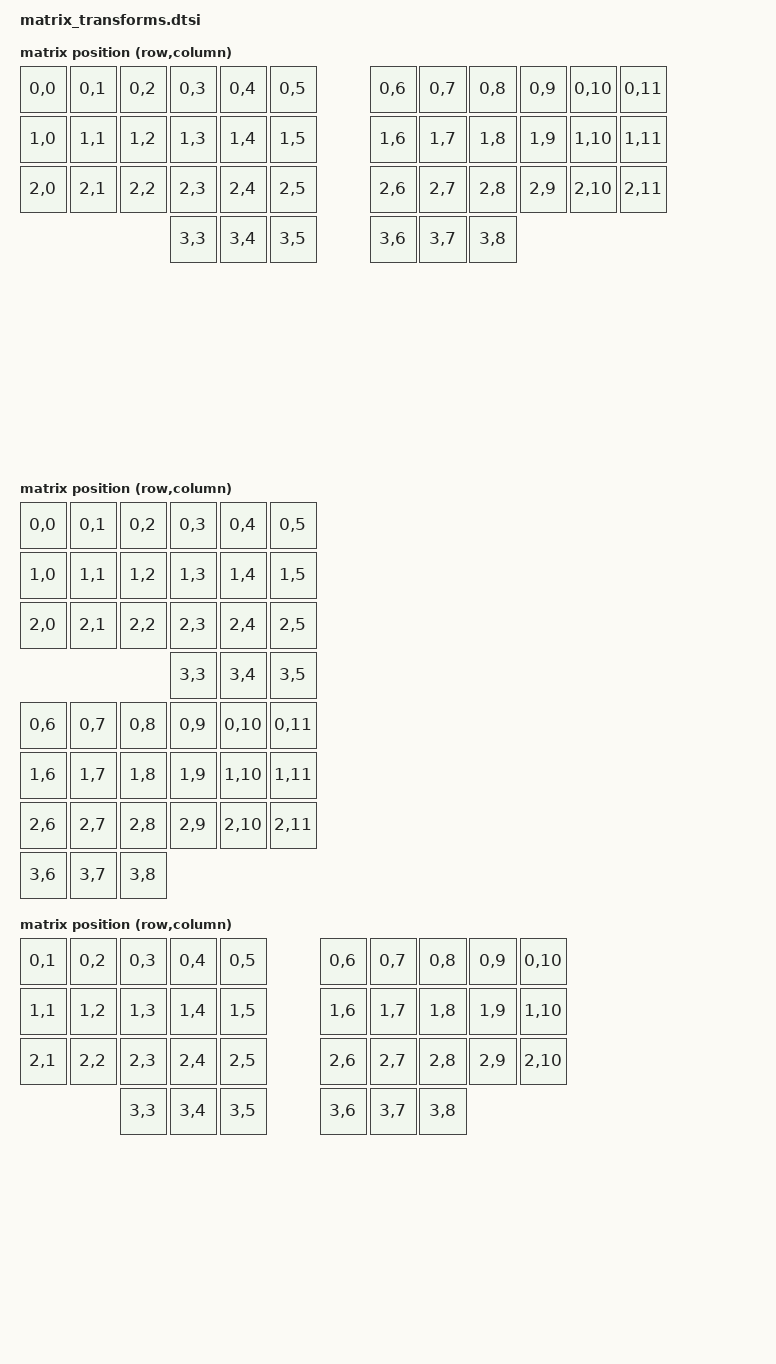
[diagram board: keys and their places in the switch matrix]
// Copyright 2023 saikocat (@saikocat)
// SPDX-License-Identifier: MIT

#include <dt-bindings/zmk/matrix_transform.h>

#include "matrix_transforms.h"

// TODO: refactor / remove in favour of .h macro
/ {
    layout_3x6_3_transform: keymap_transform_100 {
        compatible = "zmk,matrix-transform";
        columns = <12>;
        rows = <4>;
//         | SW01  | SW02  | SW03  | SW04  | SW05  | SW06  |   | SW06  | SW05  | SW04 | SW03 | SW02 | SW01 |
//         | SW07  | SW08  | SW09  | SW10  | SW11  | SW12  |   | SW12  | SW11  | SW10 | SW09 | SW08 | SW07 |
//         | SW13  | SW14  | SW15  | SW16  | SW17  | SW18  |   | SW18  | SW17  | SW16 | SW15 | SW14 | SW13 |
//                                 | SW19  | SW20  | SW21  |   | SW21  | SW20  | SW19 |
        map = <
            RC(0,0) RC(0,1) RC(0,2) RC(0,3) RC(0,4) RC(0,5)     RC(0,6) RC(0,7) RC(0,8) RC(0,9) RC(0,10) RC(0,11)
            RC(1,0) RC(1,1) RC(1,2) RC(1,3) RC(1,4) RC(1,5)     RC(1,6) RC(1,7) RC(1,8) RC(1,9) RC(1,10) RC(1,11)
            RC(2,0) RC(2,1) RC(2,2) RC(2,3) RC(2,4) RC(2,5)     RC(2,6) RC(2,7) RC(2,8) RC(2,9) RC(2,10) RC(2,11)
                                    RC(3,3) RC(3,4) RC(3,5)     RC(3,6) RC(3,7) RC(3,8)
        >;
    };

    layout_3x6_3_stacked_transform: keymap_transform_101 {
        compatible = "zmk,matrix-transform";
        columns = <12>;
        rows = <4>;
//         | SW01  | SW02  | SW03  | SW04  | SW05 | SW06 |
//         | SW07  | SW08  | SW09  | SW10  | SW11 | SW12 |
//         | SW13  | SW14  | SW15  | SW16  | SW17 | SW18 |
//                                 | SW19  | SW20 | SW21 |
//         | SW06  | SW05  | SW04  | SW03  | SW02 | SW01 |
//         | SW12  | SW11  | SW10  | SW09  | SW08 | SW07 |
//         | SW18  | SW17  | SW16  | SW15  | SW14 | SW13 |
//         | SW21  | SW20  | SW19  |
        map = <
            RC(0,0) RC(0,1) RC(0,2) RC(0,3) RC(0,4) RC(0,5)
            RC(1,0) RC(1,1) RC(1,2) RC(1,3) RC(1,4) RC(1,5)
            RC(2,0) RC(2,1) RC(2,2) RC(2,3) RC(2,4) RC(2,5)
                                    RC(3,3) RC(3,4) RC(3,5)
            RC(0,6) RC(0,7) RC(0,8) RC(0,9) RC(0,10) RC(0,11)
            RC(1,6) RC(1,7) RC(1,8) RC(1,9) RC(1,10) RC(1,11)
            RC(2,6) RC(2,7) RC(2,8) RC(2,9) RC(2,10) RC(2,11)
            RC(3,6) RC(3,7) RC(3,8)
        >;
    };

    layout_3x5_3_from_6cols_transform: keymap_transform_102 {
        compatible = "zmk,matrix-transform";
        columns = <12>;
        rows = <4>;
//         | SW01  | SW02  | SW03  | SW04  | SW05  |   | SW05  | SW04  | SW03  | SW02  | SW01  |
//         | SW06  | SW07  | SW08  | SW09  | SW10  |   | SW10  | SW09  | SW08  | SW07  | SW06  |
//         | SW11  | SW12  | SW13  | SW14  | SW15  |   | SW15  | SW14  | SW13  | SW12  | SW11  |
//                         | SW16  | SW17  | SW18  |   | SW18  | SW17  | SW16  |
        map = <
            RC(0,1) RC(0,2) RC(0,3) RC(0,4) RC(0,5)     RC(0,6) RC(0,7) RC(0,8) RC(0,9) RC(0,10)
            RC(1,1) RC(1,2) RC(1,3) RC(1,4) RC(1,5)     RC(1,6) RC(1,7) RC(1,8) RC(1,9) RC(1,10)
            RC(2,1) RC(2,2) RC(2,3) RC(2,4) RC(2,5)     RC(2,6) RC(2,7) RC(2,8) RC(2,9) RC(2,10)
                            RC(3,3) RC(3,4) RC(3,5)     RC(3,6) RC(3,7) RC(3,8)
        >;
    };

    layout_3x5_3_from_6cols_stacked_transform: keymap_transform_103 {
        compatible = "zmk,matrix-transform";
        columns = <12>;
        rows = <4>;
//         | SW01  | SW02  | SW03  | SW04  | SW05  |
//         | SW06  | SW07  | SW08  | SW09  | SW10  |
//         | SW11  | SW12  | SW13  | SW14  | SW15  |
//                         | SW16  | SW17  | SW18  |
//         | SW05  | SW04  | SW03  | SW02  | SW01  |
//         | SW10  | SW09  | SW08  | SW07  | SW06  |
//         | SW15  | SW14  | SW13  | SW12  | SW11  |
//         | SW18  | SW17  | SW16  |
        map = <
            RC(0,1) RC(0,2) RC(0,3) RC(0,4) RC(0,5)
            RC(1,1) RC(1,2) RC(1,3) RC(1,4) RC(1,5)
            RC(2,1) RC(2,2) RC(2,3) RC(2,4) RC(2,5)
                            RC(3,3) RC(3,4) RC(3,5)
            RC(0,6) RC(0,7) RC(0,8) RC(0,9) RC(0,10)
            RC(1,6) RC(1,7) RC(1,8) RC(1,9) RC(1,10)
            RC(2,6) RC(2,7) RC(2,8) RC(2,9) RC(2,10)
            RC(3,6) RC(3,7) RC(3,8)
        >;
    };

    layout_3x5_3_transform: keymap_transform_200 {
        compatible = "zmk,matrix-transform";
        columns = <10>;
        rows = <4>;
//         | SW01  | SW02  | SW03  | SW04  | SW05  |   | SW05  | SW04  | SW03  | SW02  | SW01  |
//         | SW06  | SW07  | SW08  | SW09  | SW10  |   | SW10  | SW09  | SW08  | SW07  | SW06  |
//         | SW11  | SW12  | SW13  | SW14  | SW15  |   | SW15  | SW14  | SW13  | SW12  | SW11  |
//                         | SW16  | SW17  | SW18  |   | SW18  | SW17  | SW16  |
        map = <
            RC(0,0) RC(0,1) RC(0,2) RC(0,3) RC(0,4)     RC(0,5) RC(0,6) RC(0,7) RC(0,8) RC(0,9)
            RC(1,0) RC(1,1) RC(1,2) RC(1,3) RC(1,4)     RC(1,5) RC(1,6) RC(1,7) RC(1,8) RC(1,9)
            RC(2,0) RC(2,1) RC(2,2) RC(2,3) RC(2,4)     RC(2,5) RC(2,6) RC(2,7) RC(2,8) RC(2,9)
                            RC(3,2) RC(3,3) RC(3,4)     RC(3,5) RC(3,6) RC(3,7)
        >;
    };

    layout_3x5_3_stacked_transform: keymap_transform_201 {
        compatible = "zmk,matrix-transform";
        columns = <10>;
        rows = <4>;
//         | SW01  | SW02  | SW03  | SW04  | SW05  |
//         | SW06  | SW07  | SW08  | SW09  | SW10  |
//         | SW11  | SW12  | SW13  | SW14  | SW15  |
//                         | SW16  | SW17  | SW18  |
//         | SW05  | SW04  | SW03  | SW02  | SW01  |
//         | SW10  | SW09  | SW08  | SW07  | SW06  |
//         | SW15  | SW14  | SW13  | SW12  | SW11  |
//         | SW18  | SW17  | SW16  |
        map = <
            RC(0,0) RC(0,1) RC(0,2) RC(0,3) RC(0,4)
            RC(1,0) RC(1,1) RC(1,2) RC(1,3) RC(1,4)
            RC(2,0) RC(2,1) RC(2,2) RC(2,3) RC(2,4)
                            RC(3,2) RC(3,3) RC(3,4)
            RC(0,5) RC(0,6) RC(0,7) RC(0,8) RC(0,9)
            RC(1,5) RC(1,6) RC(1,7) RC(1,8) RC(1,9)
            RC(2,5) RC(2,6) RC(2,7) RC(2,8) RC(2,9)
            RC(3,5) RC(3,6) RC(3,7)
        >;
    };

    layout_3x5_3_5waysswitch_from_6cols_transform: keymap_transform_210 {
        compatible = "zmk,matrix-transform";
        columns = <10>;
        rows = <5>;
//         | SW01  | SW02  | SW03  | SW04  | SW05  |   | SW05  | SW04  | SW03  | SW02  | SW01  |
//         | SW06  | SW07  | SW08  | SW09  | SW10  |   | SW10  | SW09  | SW08  | SW07  | SW06  |
//         | SW11  | SW12  | SW13  | SW14  | SW15  |   | SW15  | SW14  | SW13  | SW12  | SW11  |
//                         | SW16  | SW17  | SW18  |   | SW18  | SW17  | SW16  |
//         | SW20  | SW19  | SW21  | SW22  | SW23  |   | SW23  | SW22  | SW21  | SW19  | SW20  |
        map = <
            RC(0,1) RC(0,2) RC(0,3) RC(0,4) RC(0,5)     RC(0,6) RC(0,7) RC(0,8) RC(0,9) RC(0,10)
            RC(1,1) RC(1,2) RC(1,3) RC(1,4) RC(1,5)     RC(1,6) RC(1,7) RC(1,8) RC(1,9) RC(1,10)
            RC(2,1) RC(2,2) RC(2,3) RC(2,4) RC(2,5)     RC(2,6) RC(2,7) RC(2,8) RC(2,9) RC(2,10)
                            RC(3,3) RC(3,4) RC(3,5)     RC(3,6) RC(3,7) RC(3,8)
            RC(4,0) RC(4,1) RC(4,2) RC(4,3) RC(4,4)     RC(4,5) RC(4,6) RC(4,7) RC(4,8) RC(4,9)
        >;
    };

    layout_3x5_3_5waysswitch_from_6cols_stacked_transform: keymap_transform_211 {
        compatible = "zmk,matrix-transform";
        columns = <10>;
        rows = <5>;
//         | SW01  | SW02  | SW03  | SW04  | SW05  |
//         | SW06  | SW07  | SW08  | SW09  | SW10  |
//         | SW11  | SW12  | SW13  | SW14  | SW15  |
//                         | SW16  | SW17  | SW18  |
//         | SW20  | SW19  | SW21  | SW22  | SW23  |
//
//         | SW05  | SW04  | SW03  | SW02  | SW01  |
//         | SW10  | SW09  | SW08  | SW07  | SW06  |
//         | SW15  | SW14  | SW13  | SW12  | SW11  |
//         | SW18  | SW17  | SW16  |
//         | SW23  | SW22  | SW21  | SW19  | SW20  |
        map = <
            RC(0,1) RC(0,2) RC(0,3) RC(0,4) RC(0,5)
            RC(1,1) RC(1,2) RC(1,3) RC(1,4) RC(1,5)
            RC(2,1) RC(2,2) RC(2,3) RC(2,4) RC(2,5)
                            RC(3,3) RC(3,4) RC(3,5)
            RC(4,0) RC(4,1) RC(4,2) RC(4,3) RC(4,4)

            RC(0,6) RC(0,7) RC(0,8) RC(0,9) RC(0,10)
            RC(1,6) RC(1,7) RC(1,8) RC(1,9) RC(1,10)
            RC(2,6) RC(2,7) RC(2,8) RC(2,9) RC(2,10)
            RC(3,6) RC(3,7) RC(3,8)
            RC(4,5) RC(4,6) RC(4,7) RC(4,8) RC(4,9)
        >;
    };

    layout_3x5_2_transform: keymap_transform_220 {
        compatible = "zmk,matrix-transform";
        columns = <10>;
        rows = <4>;
//         | SW01  | SW02  | SW03  | SW04  | SW05  |  | SW05  | SW04  | SW03  | SW02  | SW01  |
//         | SW06  | SW07  | SW08  | SW09  | SW10  |  | SW10  | SW09  | SW08  | SW07  | SW06  |
//         | SW11  | SW12  | SW13  | SW14  | SW15  |  | SW15  | SW14  | SW13  | SW12  | SW11  |
//                                 | SW16  | SW17  |  | SW17  | SW16  |
        map = <
            RC(0,0) RC(0,1) RC(0,2) RC(0,3) RC(0,4)    RC(0,5) RC(0,6) RC(0,7) RC(0,8) RC(0,9)
            RC(1,0) RC(1,1) RC(1,2) RC(1,3) RC(1,4)    RC(1,5) RC(1,6) RC(1,7) RC(1,8) RC(1,9)
            RC(2,0) RC(2,1) RC(2,2) RC(2,3) RC(2,4)    RC(2,5) RC(2,6) RC(2,7) RC(2,8) RC(2,9)
                                    RC(3,3) RC(3,4)    RC(3,5) RC(3,6)
        >;
    };

    layout_3x5_2_stacked_transform: keymap_transform_221 {
        compatible = "zmk,matrix-transform";
        columns = <10>;
        rows = <4>;
//         | SW01  | SW02  | SW03  | SW04  | SW05  |
//         | SW06  | SW07  | SW08  | SW09  | SW10  |
//         | SW11  | SW12  | SW13  | SW14  | SW15  |
//                                 | SW16  | SW17  |
//         | SW05  | SW04  | SW03  | SW02  | SW01  |
//         | SW10  | SW09  | SW08  | SW07  | SW06  |
//         | SW15  | SW14  | SW13  | SW12  | SW11  |
//         | SW17  | SW16  |
        map = <
            RC(0,0) RC(0,1) RC(0,2) RC(0,3) RC(0,4)
            RC(1,0) RC(1,1) RC(1,2) RC(1,3) RC(1,4)
            RC(2,0) RC(2,1) RC(2,2) RC(2,3) RC(2,4)
                                    RC(3,3) RC(3,4)
            RC(0,5) RC(0,6) RC(0,7) RC(0,8) RC(0,9)
            RC(1,5) RC(1,6) RC(1,7) RC(1,8) RC(1,9)
            RC(2,5) RC(2,6) RC(2,7) RC(2,8) RC(2,9)
            RC(3,5) RC(3,6)
        >;
    };
};
